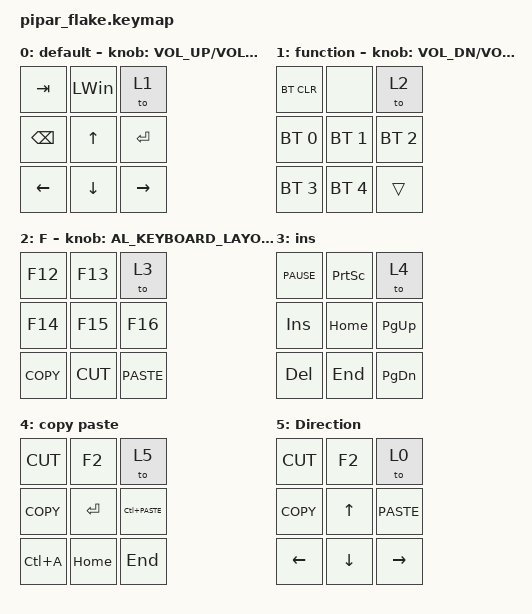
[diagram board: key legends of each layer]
/*
 * Copyright (c) 2022 The ZMK Contributors
 *
 * SPDX-License-Identifier: MIT
 */

#include <behaviors.dtsi>
#include <dt-bindings/zmk/bt.h>
#include <dt-bindings/zmk/keys.h>

#define BASE        0
#define FUNC        1

/ {
    sensors: sensors {
        compatible = "zmk,keymap-sensors";
        sensors = <&encoder_1>;
        triggers-per-rotation = <24>;
    };

    keymap {
        compatible = "zmk,keymap";

        default_layer {
            // ---------------------------//
            // | Q    | W     | ENCODER | //
            // | A    | S     | D       | //
            // | Z    | X     | FN      | //

            display-name = "default";
            bindings = <
&kp TAB         &kp LEFT_WIN    &to 1
&kp BACKSPACE   &kp UP_ARROW    &kp ENTER
&kp LEFT_ARROW  &kp DOWN_ARROW  &kp RIGHT_ARROW
            >;

            sensor-bindings = <&inc_dec_kp C_VOLUME_UP C_VOLUME_DOWN>;
        };

        function_layer {
            // --------------------------- //
            // | BT_CLR | none | ENCODER | //
            // | BT_0   | BT_1 | BT_2    | //
            // | BT_3   | BT_4 | trans   | //

            display-name = "function";
            bindings = <
&bt BT_CLR    &none         &to 2
&bt BT_SEL 0  &bt BT_SEL 1  &bt BT_SEL 2
&bt BT_SEL 3  &bt BT_SEL 4  &trans
            >;

            sensor-bindings = <&inc_dec_kp C_VOL_DN C_VOL_UP>;
        };

        layer_2 {
            bindings = <
&kp F12     &kp F13    &to 3
&kp F14     &kp F15    &kp F16
&kp K_COPY  &kp K_CUT  &kp K_PASTE
            >;

            sensor-bindings = <&inc_dec_kp C_AL_KEYBOARD_LAYOUT C_AL_KEYBOARD_LAYOUT>;
            label = "F";
        };

        layer_3 {
            bindings = <
&kp C_PAUSE  &kp PRINTSCREEN  &to 4
&kp INS      &kp HOME         &kp PG_UP
&kp DELETE   &kp END          &kp PAGE_DOWN
            >;

            label = "ins";
        };

        layer_4 {
            bindings = <
&kp K_CUT   &kp F2     &to 5
&kp K_COPY  &kp ENTER  &kp LC(K_PASTE)
&kp LC(A)   &kp HOME   &kp END
            >;

            label = "copy paste";
        };

        layer_5 {
            bindings = <
&kp K_CUT   &kp F2    &to 0
&kp K_COPY  &kp UP    &kp K_PASTE
&kp LEFT    &kp DOWN  &kp RIGHT
            >;

            label = "Direction";
        };
    };
};
